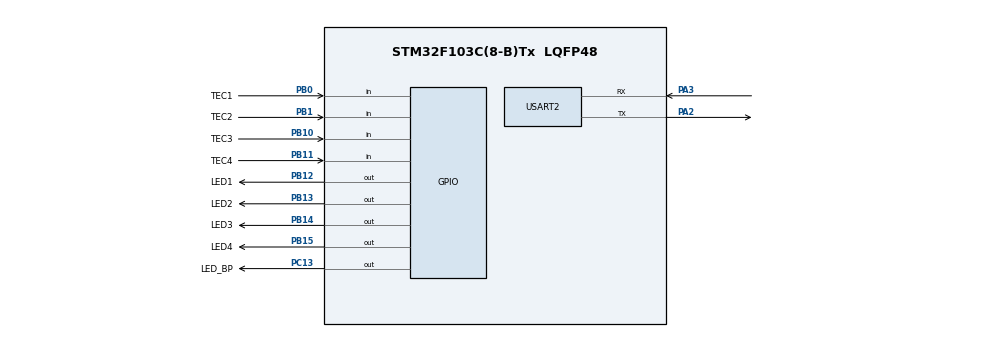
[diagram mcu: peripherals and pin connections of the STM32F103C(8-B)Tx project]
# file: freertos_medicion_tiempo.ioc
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FREERTOS.Tasks01=defaultTask,24,128,StartDefaultTask,Default,NULL,Dynamic,NULL,NULL
FREERTOS.configTOTAL_HEAP_SIZE=6200
FREERTOS.configUSE_NEWLIB_REENTRANT=1
Mcu.Family=STM32F1
Mcu.Name=STM32F103C(8-B)Tx
Mcu.Package=LQFP48
NVIC.PriorityGroup=NVIC_PRIORITYGROUP_4
NVIC.TIM1_UP_IRQn=true\:15\:0\:false\:false\:true\:false\:false\:true\:true
NVIC.TimeBase=TIM1_UP_IRQn
NVIC.TimeBaseIP=TIM1
PA13.Mode=Serial_Wire
PA13.Signal=SYS_JTMS-SWDIO
PA14.Mode=Serial_Wire
PA14.Signal=SYS_JTCK-SWCLK
PA2.Mode=Asynchronous
PA2.Signal=USART2_TX
PA3.Mode=Asynchronous
PA3.Signal=USART2_RX
PB0.GPIO_Label=TEC1
PB0.GPIO_PuPd=GPIO_PULLUP
PB0.Signal=GPIO_Input
PB1.GPIO_Label=TEC2
PB1.GPIO_PuPd=GPIO_PULLUP
PB1.Signal=GPIO_Input
PB10.GPIO_Label=TEC3
PB10.GPIO_PuPd=GPIO_PULLUP
PB10.Signal=GPIO_Input
PB11.GPIO_Label=TEC4
PB11.GPIO_PuPd=GPIO_PULLUP
PB11.Signal=GPIO_Input
PB12.GPIO_Label=LED1
PB12.Signal=GPIO_Output
PB13.GPIO_Label=LED2
PB13.Signal=GPIO_Output
PB14.GPIO_Label=LED3
PB14.Signal=GPIO_Output
PB15.GPIO_Label=LED4
PB15.Signal=GPIO_Output
PC13-TAMPER-RTC.GPIO_Label=LED_BP
PC13-TAMPER-RTC.Signal=GPIO_Output
PC14-OSC32_IN.Mode=LSE-External-Oscillator
PC14-OSC32_IN.Signal=RCC_OSC32_IN
PC15-OSC32_OUT.Mode=LSE-External-Oscillator
PC15-OSC32_OUT.Signal=RCC_OSC32_OUT
PD0-OSC_IN.Mode=HSE-External-Oscillator
PD0-OSC_IN.Signal=RCC_OSC_IN
PD1-OSC_OUT.Mode=HSE-External-Oscillator
PD1-OSC_OUT.Signal=RCC_OSC_OUT
ProjectManager.HeapSize=0x200
ProjectManager.StackSize=0x400
ProjectManager.TargetToolchain=STM32CubeIDE
RCC.APB1Freq_Value=8000000
RCC.APB2Freq_Value=8000000
USART2.VirtualMode=VM_ASYNC
VP_FREERTOS_VS_CMSIS_V2.Mode=CMSIS_V2
VP_SYS_VS_tim1.Mode=TIM1
board=custom

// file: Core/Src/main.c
/* USER CODE BEGIN Header */
/**
 ******************************************************************************
 * @file           : main.c
 * @brief          : Main program body
 ******************************************************************************
 * @attention
 *
 * Copyright (c) 2022 STMicroelectronics.
 * All rights reserved.
 *
 * This software is licensed under terms that can be found in the LICENSE file
 * in the root directory of this software component.
 * If no LICENSE file comes with this software, it is provided AS-IS.
 *
 ******************************************************************************
 */
/*
 * Implemente un sistema que mida el tiempo de pulsación de 4 pulsadores:
 * Cada pulsador tiene un LED asociado.
 * Al presionar un pulsador comienza la medición de su tiempo de pulsación, y
 * al soltarlo:
 * - Enciende el LED correspondiente durante el tiempo medido.
 * - Envía por UART el nombre del pulsador y el tiempo que estuvo pulsado, por
 *   ejemplo: "TEC1: 257 ms\r\n"
 * Los pulsadores se pueden presionar en forma simultánea, por lo tanto las
 * mediciones se deben poder realizar al mismo tiempo y se deben evitar accesos
 * concurrentes a la UART.
 *
 */

/* USER CODE END Header */
#include "main.h"
#include "cmsis_os.h"

/* USER CODE BEGIN Includes */
#include "FreeRTOS.h"
#include "stdio.h"
#include <string.h>
#include "task.h"
#include "queue.h"
/* USER CODE END Includes */

/* USER CODE BEGIN PTD */
typedef struct {
	uint8_t id;
	uint32_t time;
} queue_item_t;

typedef struct {
	uint8_t id;
	GPIO_TypeDef *led_port;
	uint16_t led_pin;
	GPIO_TypeDef *tec_port;
	uint16_t tec_pin;
} task_param_t;
/* USER CODE END PTD */

/* USER CODE BEGIN PD */
#define QUEUE_UART_LEN  (5)
/* USER CODE END PD */

UART_HandleTypeDef huart2;

/* Definitions for defaultTask */
osThreadId_t defaultTaskHandle;
const osThreadAttr_t defaultTask_attributes = {
		.name = "defaultTask",
		.stack_size = 128 * 4,
		.priority = (osPriority_t) osPriorityNormal,
};
/* USER CODE BEGIN PV */
static QueueHandle_t queue_uart;
static task_param_t pulsadores[] = {
		{
				.id = 1,
				.led_port = LED1_GPIO_Port,
				.led_pin = LED1_Pin,
				.tec_port = TEC1_GPIO_Port,
				.tec_pin = TEC1_Pin,
		},
		{
				.id = 2,
				.led_port = LED2_GPIO_Port,
				.led_pin = LED2_Pin,
				.tec_port = TEC2_GPIO_Port,
				.tec_pin = TEC2_Pin,
		},
		{
				.id = 3,
				.led_port = LED3_GPIO_Port,
				.led_pin = LED3_Pin,
				.tec_port = TEC3_GPIO_Port,
				.tec_pin = TEC3_Pin,
		},
		{
				.id = 4,
				.led_port = LED4_GPIO_Port,
				.led_pin = LED4_Pin,
				.tec_port = TEC4_GPIO_Port,
				.tec_pin = TEC4_Pin,
		}
};
/* USER CODE END PV */

void SystemClock_Config(void);
static void MX_GPIO_Init(void);
static void MX_USART2_UART_Init(void);
void StartDefaultTask(void *argument);

/* USER CODE BEGIN 0 */

void pulsador_task(void *p)
{
	uint32_t time_ms = 0;
	queue_item_t item;
	task_param_t *params;
	params = (task_param_t *)p;

	HAL_GPIO_WritePin(params->led_port, params->led_pin, GPIO_PIN_SET);

	while (1) {
		while (HAL_GPIO_ReadPin(params->tec_port, params->tec_pin) == GPIO_PIN_RESET) {
			time_ms += 1;
			vTaskDelay(1);
		}
		if (time_ms > 0) {
			item.id = params->id;
			item.time = time_ms;
			xQueueSend(queue_uart, &item, 0);
			HAL_GPIO_WritePin(params->led_port, params->led_pin, GPIO_PIN_RESET);
			vTaskDelay(time_ms);
			HAL_GPIO_WritePin(params->led_port, params->led_pin, GPIO_PIN_SET);
			time_ms = 0;
		}
		else {
			taskYIELD();
		}
	}
}

void uart_task(void *p)
{
	queue_item_t item;
	uint8_t strbuff[20];

	while (1) {
		xQueueReceive(queue_uart, &item, portMAX_DELAY);
		snprintf((char *)strbuff, 20, "TEC%d: %d ms\r\n", (int)item.id, (int)item.time);
		HAL_UART_Transmit(&huart2, strbuff, (uint16_t)strlen((char *)strbuff), 100);
	}
}

/* USER CODE END 0 */

int main(void)
{

	/* MCU Configuration--------------------------------------------------------*/

	/* Reset of all peripherals, Initializes the Flash interface and the Systick. */
	HAL_Init();

	/* Configure the system clock */
	SystemClock_Config();

	/* Initialize all configured peripherals */
	MX_GPIO_Init();
	MX_USART2_UART_Init();

	/* Init scheduler */
	osKernelInitialize();

	/* USER CODE BEGIN RTOS_QUEUES */
	/* add queues, ... */
	queue_uart = xQueueCreate(QUEUE_UART_LEN, sizeof(queue_item_t));
	/* USER CODE END RTOS_QUEUES */

	/* Create the thread(s) */
	/* creation of defaultTask */
	defaultTaskHandle = osThreadNew(StartDefaultTask, NULL, &defaultTask_attributes);

	/* USER CODE BEGIN RTOS_THREADS */
	/* add threads, ... */
	xTaskCreate(pulsador_task, "task1", configMINIMAL_STACK_SIZE, &pulsadores[0], osPriorityNormal, NULL);
	xTaskCreate(pulsador_task, "task2", configMINIMAL_STACK_SIZE, &pulsadores[1], osPriorityNormal, NULL);
	xTaskCreate(pulsador_task, "task3", configMINIMAL_STACK_SIZE, &pulsadores[2], osPriorityNormal, NULL);
	xTaskCreate(pulsador_task, "task4", configMINIMAL_STACK_SIZE, &pulsadores[3], osPriorityNormal, NULL);
	xTaskCreate(uart_task, "uart", configMINIMAL_STACK_SIZE * 2, NULL, osPriorityNormal, NULL);

	/* USER CODE END RTOS_THREADS */

	/* Start scheduler */
	osKernelStart();

	/* We should never get here as control is now taken by the scheduler */
	/* Infinite loop */
	while (1) {

	}
}

void SystemClock_Config(void)
{
	RCC_OscInitTypeDef RCC_OscInitStruct = {0};
	RCC_ClkInitTypeDef RCC_ClkInitStruct = {0};

	/** Initializes the RCC Oscillators according to the specified parameters
	 * in the RCC_OscInitTypeDef structure.
	 */
	RCC_OscInitStruct.OscillatorType = RCC_OSCILLATORTYPE_HSI;
	RCC_OscInitStruct.HSIState = RCC_HSI_ON;
	RCC_OscInitStruct.HSICalibrationValue = RCC_HSICALIBRATION_DEFAULT;
	RCC_OscInitStruct.PLL.PLLState = RCC_PLL_NONE;
	if (HAL_RCC_OscConfig(&RCC_OscInitStruct) != HAL_OK)
	{
		Error_Handler();
	}

	/** Initializes the CPU, AHB and APB buses clocks
	 */
	RCC_ClkInitStruct.ClockType = RCC_CLOCKTYPE_HCLK|RCC_CLOCKTYPE_SYSCLK
			|RCC_CLOCKTYPE_PCLK1|RCC_CLOCKTYPE_PCLK2;
	RCC_ClkInitStruct.SYSCLKSource = RCC_SYSCLKSOURCE_HSI;
	RCC_ClkInitStruct.AHBCLKDivider = RCC_SYSCLK_DIV1;
	RCC_ClkInitStruct.APB1CLKDivider = RCC_HCLK_DIV1;
	RCC_ClkInitStruct.APB2CLKDivider = RCC_HCLK_DIV1;

	if (HAL_RCC_ClockConfig(&RCC_ClkInitStruct, FLASH_LATENCY_0) != HAL_OK)
	{
		Error_Handler();
	}
}

static void MX_USART2_UART_Init(void)
{

	huart2.Instance = USART2;
	huart2.Init.BaudRate = 115200;
	huart2.Init.WordLength = UART_WORDLENGTH_8B;
	huart2.Init.StopBits = UART_STOPBITS_1;
	huart2.Init.Parity = UART_PARITY_NONE;
	huart2.Init.Mode = UART_MODE_TX_RX;
	huart2.Init.HwFlowCtl = UART_HWCONTROL_NONE;
	huart2.Init.OverSampling = UART_OVERSAMPLING_16;
	if (HAL_UART_Init(&huart2) != HAL_OK)
	{
		Error_Handler();
	}

}

static void MX_GPIO_Init(void)
{
	GPIO_InitTypeDef GPIO_InitStruct = {0};

	/* GPIO Ports Clock Enable */
	__HAL_RCC_GPIOC_CLK_ENABLE();
	__HAL_RCC_GPIOD_CLK_ENABLE();
	__HAL_RCC_GPIOA_CLK_ENABLE();
	__HAL_RCC_GPIOB_CLK_ENABLE();

	/*Configure GPIO pin Output Level */
	HAL_GPIO_WritePin(LED_BP_GPIO_Port, LED_BP_Pin, GPIO_PIN_RESET);

	/*Configure GPIO pin Output Level */
	HAL_GPIO_WritePin(GPIOB, LED1_Pin|LED2_Pin|LED3_Pin|LED4_Pin, GPIO_PIN_RESET);

	/*Configure GPIO pin : LED_BP_Pin */
	GPIO_InitStruct.Pin = LED_BP_Pin;
	GPIO_InitStruct.Mode = GPIO_MODE_OUTPUT_PP;
	GPIO_InitStruct.Pull = GPIO_NOPULL;
	GPIO_InitStruct.Speed = GPIO_SPEED_FREQ_LOW;
	HAL_GPIO_Init(LED_BP_GPIO_Port, &GPIO_InitStruct);

	/*Configure GPIO pins : TEC1_Pin TEC2_Pin TEC3_Pin TEC4_Pin */
	GPIO_InitStruct.Pin = TEC1_Pin|TEC2_Pin|TEC3_Pin|TEC4_Pin;
	GPIO_InitStruct.Mode = GPIO_MODE_INPUT;
	GPIO_InitStruct.Pull = GPIO_PULLUP;
	HAL_GPIO_Init(GPIOB, &GPIO_InitStruct);

	/*Configure GPIO pins : LED1_Pin LED2_Pin LED3_Pin LED4_Pin */
	GPIO_InitStruct.Pin = LED1_Pin|LED2_Pin|LED3_Pin|LED4_Pin;
	GPIO_InitStruct.Mode = GPIO_MODE_OUTPUT_PP;
	GPIO_InitStruct.Pull = GPIO_NOPULL;
	GPIO_InitStruct.Speed = GPIO_SPEED_FREQ_LOW;
	HAL_GPIO_Init(GPIOB, &GPIO_InitStruct);

}

void StartDefaultTask(void *argument)
{
	/* USER CODE BEGIN 5 */
	/* Infinite loop */
	for (;;) {
		HAL_GPIO_TogglePin(LED_BP_GPIO_Port, LED_BP_Pin);
		osDelay(500);
	}
	/* USER CODE END 5 */
}

void HAL_TIM_PeriodElapsedCallback(TIM_HandleTypeDef *htim)
{
	if (htim->Instance == TIM1) {
		HAL_IncTick();
	}
}

void Error_Handler(void)
{
	__disable_irq();
	while (1) {
	}
}
